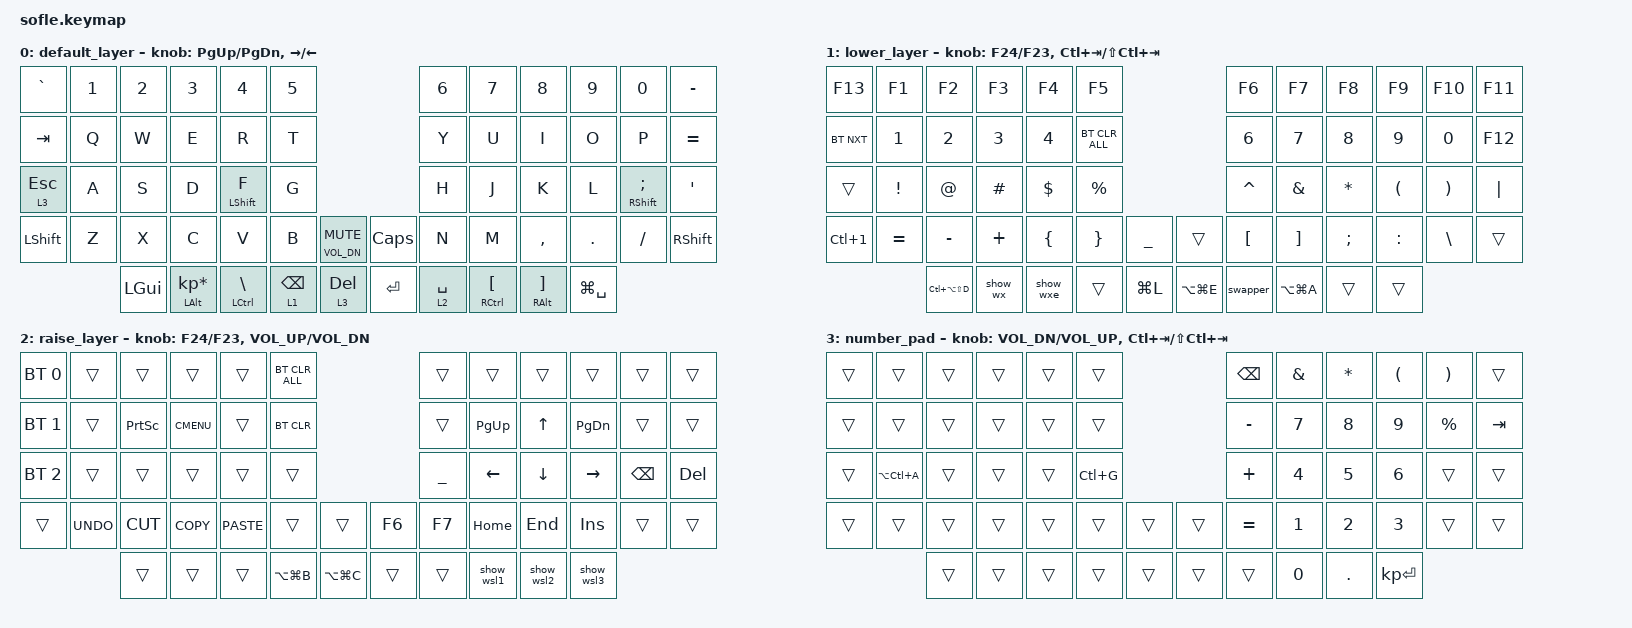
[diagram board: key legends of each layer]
/*
 * Copyright (c) 2020 The ZMK Contributors
 *
 * SPDX-License-Identifier: MIT
 */
/*                                      60 KEY MATRIX / LAYOUT MAPPING

  ╭────────────────────────────┬────────────────────────────╮ ╭─────────────────────────────┬─────────────────────────────╮
  │  0   1   2   3   4   5     │      6   7   8   9  10  11 │ │ LN5 LN4 LN3 LN2 LN1 LN0     │     RN0 RN1 RN2 RN3 RN4 RN5 │
  │ 12  13  14  15  16  17     │     18  19  20  21  22  23 │ │ LT5 LT4 LT3 LT2 LT1 LT0     │     RT0 RT1 RT2 RT3 RT4 RT5 │
  │ 24  25  26  27  28  29     │     30  31  32  33  34  35 │ │ LM5 LM4 LM3 LM2 LM1 LM0     │     RM0 RM1 RM2 RM3 RM4 RM5 │
  │ 36  37  38  39  40  41  42 │ 43  44  45  46  47  48  49 │ │ LB5 LB4 LB3 LB2 LB1 LB0 LEC │ REC RB0 RB1 RB2 RB3 RB4 RB5 │
  ╰───────╮ 50  51  52  53  54 │ 55  56  57  58  59 ╭───────╯ ╰───────╮ LH4 LH3 LH2 LH1 LH0 │ RH0 RH1 RH2 RH3 RH4 ╭───────╯
          ╰────────────────────┴────────────────────╯                 ╰─────────────────────┴─────────────────────╯         */

#include <behaviors.dtsi>
#include <dt-bindings/zmk/bt.h>
#include <dt-bindings/zmk/keys.h>

/ {
    behaviors {
        mlt: dk_tap {
            compatible = "zmk,behavior-hold-tap";
            #binding-cells = <2>;
            flavor = "balanced";
            tapping-term-ms = <160>;
            quick-tap-ms = <220>;
            bindings = <&mo>, <&kp>;

            display-name = "dark-MomentaryTap";
        };

        // Swapper for smart alt+tab

        swapper: swapper {
            compatible = "zmk,behavior-smart-toggle";
            #binding-cells = <0>;
            bindings = <&kp LALT>, <&kp TAB>;

            ignored-key-positions = <1>;
        };

        // https://zmk.dev/docs/keymaps/behaviors/hold-tap?examples=home_row_mods#positional-hold-tap-and-hold-trigger-key-positions

        hml: home_row_mod_left {
            compatible = "zmk,behavior-hold-tap";
            #binding-cells = <2>;
            flavor = "balanced";
            require-prior-idle-ms = <150>;
            tapping-term-ms = <280>;
            quick-tap-ms = <175>;
            bindings = <&kp>, <&kp>;

            // https://github.com/urob/zmk-helpers/blob/main/include/zmk-helpers/key-labels/sofle.h

            hold-trigger-key-positions = <18 19 20 21 22 23 30 31 32 33 34 35 44 45 46 47 48>; // List of keys on the right side of the keyboard
            hold-trigger-on-release;
        };

        hmr: home_row_mod_right {
            compatible = "zmk,behavior-hold-tap";
            #binding-cells = <2>;
            flavor = "balanced";
            require-prior-idle-ms = <150>;
            tapping-term-ms = <280>;
            quick-tap-ms = <175>;
            bindings = <&kp>, <&kp>;

            hold-trigger-key-positions = <12 13 14 15 16 17 24 25 26 27 28 29 37 38 39 40 41>; // List of keys on the left side of the keyboard
            hold-trigger-on-release;
        };
    };

    macros {
        show_wx: show_wx {
            compatible = "zmk,behavior-macro";
            #binding-cells = <0>;
            bindings = <&kp LC(LA(Q))>;
            label = "SHOW_WX";
        };

        show_wxe: show_wxe {
            compatible = "zmk,behavior-macro";
            #binding-cells = <0>;
            bindings = <&kp LA(LC(W))>;
            label = "SHOW_WXE";
        };

        show_wsl1: show_wsl1 {
            compatible = "zmk,behavior-macro";
            #binding-cells = <0>;
            bindings = <&kp LC(LA(N1))>;
            label = "SHOW_WSL1";
        };

        show_wsl2: show_wsl2 {
            compatible = "zmk,behavior-macro";
            #binding-cells = <0>;
            bindings = <&kp LA(LC(N2))>;
            label = "SHOW_WSL2";
        };

        show_wsl3: show_wsl3 {
            compatible = "zmk,behavior-macro";
            #binding-cells = <0>;
            bindings = <&kp LA(LC(N3))>;
            label = "SHOW_WSL3";
        };
    };

    keymap {
        compatible = "zmk,keymap";

        default_layer {
            // ------------------------------------------------------------------------------------------------------------
            // |  `    |  1  |  2  |  3   |  4   |  5   |                         |  6   |  7    |  8    |  9   |   0   |   -   |
            // |  TAB  |  Q  |  W  |  E   |  R   |  T   |                         |  Y   |  U    |  I    |  O   |   P   |   =   |
            // |  ESC  |  A  |  S  |  D   |  F   |  G   |                         |  H   |  J    |  K    |  L   |   ;   |   '   |
            // | SHIFT |  Z  |  X  |  C   |  V   |  B   |MUTE/VLDN|       |PP/VLUP|  N   |  M    |  ,    |  .   |   /   | SHIFT |
            //               | GUI | ALT  | CTRL | LOWER|  ENTER |        | SPACE | RAISE| CTRL  | ALT   | GUI  |

            bindings = <
&kp GRAVE   &kp N1  &kp N2    &kp N3                &kp N4          &kp N5                                            &kp N6        &kp N7          &kp N8         &kp N9         &kp N0            &kp MINUS
&kp TAB     &kp Q   &kp W     &kp E                 &kp R           &kp T                                             &kp Y         &kp U           &kp I          &kp O          &kp P             &kp EQUAL
&mlt 3 ESC  &kp A   &kp S     &kp D                 &hml LSHIFT F   &kp G                                             &kp H         &kp J           &kp K          &kp L          &hmr RSHIFT SEMI  &kp SQT
&kp LSHFT   &kp Z   &kp X     &kp C                 &kp V           &kp B        &mt C_VOL_DN C_MUTE    &kp CAPSLOCK  &kp N         &kp M           &kp COMMA      &kp DOT        &kp FSLH          &kp RSHFT
                    &kp LGUI  &mt LALT KP_MULTIPLY  &mt LCTRL BSLH  &mlt 1 BSPC  &mlt 3 DELETE          &kp RET       &mlt 2 SPACE  &mt RCTRL LBKT  &mt RALT RBKT  &kp LG(SPACE)
            >;

            // 修改左旋钮为左右方向键，右旋钮保持翻页功能

            sensor-bindings = <&inc_dec_kp PG_UP PG_DN &inc_dec_kp RIGHT LEFT>;
        };

        lower_layer {
            // TODO: Some binds are waiting for shifted keycode support.
            // ------------------------------------------------------------------------------------------------------------
            // |       |  F1 |  F2 |  F3  |  F4  |  F5  |                   |  F6  |  F7   |  F8   |  F9  |  F10  |  F11  |
            // | `     |   1 |   2 |   3  |   4  |   5  |                   |   6  |   7   |   8   |   9  |    0  |  F12  |
            // |       |  !  |  @  |  #   |  $   |  %   |                   |  ^   |  &    |  *    |  (   |   )   |   |   |
            // |       |  =  |  -  |  +   |  {   |  }   |        |  |       |  [   |  ]    |  ;    |  :   |   \   |       |
            //               |     |      |      |      |        |  |       |      |       |       |      |

            bindings = <
&kp F13           &kp F1     &kp F2             &kp F3    &kp F4     &kp F5                                      &kp F6     &kp F7         &kp F8        &kp F9     &kp F10   &kp F11
&bt BT_NXT        &kp N1     &kp N2             &kp N3    &kp N4     &bt BT_CLR_ALL                              &kp N6     &kp N7         &kp N8        &kp N9     &kp N0    &kp F12
&trans            &kp EXCL   &kp AT             &kp HASH  &kp DLLR   &kp PRCNT                                   &kp CARET  &kp AMPS       &kp ASTERISK  &kp LPAR   &kp RPAR  &kp PIPE
&kp LC(NUMBER_1)  &kp EQUAL  &kp MINUS          &kp PLUS  &kp LBRC   &kp RBRC        &kp UNDER    &trans         &kp LBKT   &kp RBKT       &kp SEMI      &kp COLON  &kp BSLH  &trans
                             &kp LC(LA(LS(D)))  &show_wx  &show_wxe  &trans          &kp LG(L)    &kp LA(LG(E))  &swapper   &kp LA(LG(A))  &trans        &trans
            >;

            // 修改左旋钮为左右方向键，右旋钮保持翻页功能

            sensor-bindings =
                <&inc_dec_kp F24 F23>,
                <&inc_dec_kp LC(TAB) LS(LC(TAB))>;
        };

        raise_layer {
            // ------------------------------------------------------------------------------------------------------------
            // |BTCLR| BT1  | BT2  |  BT3  |  BT4  |  BT5 |                |      |      |       |      |       |       |
            // |     | INS  | PSCR | GUI   |       |      |                | PGUP |      |   ^   |      |       |       |
            // |     | ALT  | CTRL | SHIFT |       | CAPS |                | PGDN |   <- |   v   |  ->  |  DEL  | BKSPC |
            // |     | UNDO | CUT  | COPY  | PASTE |      |      |  |      |      |      |       |      |       |       |
            //              |      |       |       |      |      |  |      |      | HOME |  END  |      |

            bindings = <
&bt BT_SEL 0  &trans      &trans     &trans       &trans       &bt BT_CLR_ALL                           &trans     &trans      &trans      &trans      &trans    &trans
&bt BT_SEL 1  &trans      &kp PSCRN  &kp K_CMENU  &trans       &bt BT_CLR                               &trans     &kp PG_UP   &kp UP      &kp PG_DN   &trans    &trans
&bt BT_SEL 2  &trans      &trans     &trans       &trans       &trans                                   &kp UNDER  &kp LEFT    &kp DOWN    &kp RIGHT   &kp BSPC  &kp DEL
&trans        &kp K_UNDO  &kp K_CUT  &kp K_COPY   &kp K_PASTE  &trans          &trans           &kp F6  &kp F7     &kp HOME    &kp END     &kp INSERT  &trans    &trans
                          &trans     &trans       &trans       &kp LA(LG(B))   &kp LA(LG(C))    &trans  &trans     &show_wsl1  &show_wsl2  &show_wsl3
            >;

            // 修改左旋钮为左右方向键，右旋钮保持翻页功能

            sensor-bindings = <&inc_dec_kp F24 F23 &inc_dec_kp C_VOL_UP C_VOL_DN>;
        };

        number_pad {
            bindings = <
&trans  &trans         &trans  &trans  &trans  &trans                       &kp BSPC   &kp AMPS      &kp STAR      &kp LPAR      &kp RPAR   &trans
&trans  &trans         &trans  &trans  &trans  &trans                       &kp MINUS  &kp NUMBER_7  &kp NUMBER_8  &kp NUMBER_9  &kp PRCNT  &kp TAB
&trans  &kp LA(LC(A))  &trans  &trans  &trans  &kp LC(G)                    &kp PLUS   &kp NUMBER_4  &kp NUMBER_5  &kp NUMBER_6  &trans     &trans
&trans  &trans         &trans  &trans  &trans  &trans     &trans    &trans  &kp EQUAL  &kp NUMBER_1  &kp NUMBER_2  &kp NUMBER_3  &trans     &trans
                       &trans  &trans  &trans  &trans     &trans    &trans  &trans     &kp N0        &kp DOT       &kp KP_ENTER
            >;

            // 修改左旋钮为左右方向键，右旋钮保持翻页功能

            sensor-bindings = <&inc_dec_kp C_VOL_DN C_VOL_UP &inc_dec_kp LC(TAB) LS(LC(TAB))>;
        };
    };
};
